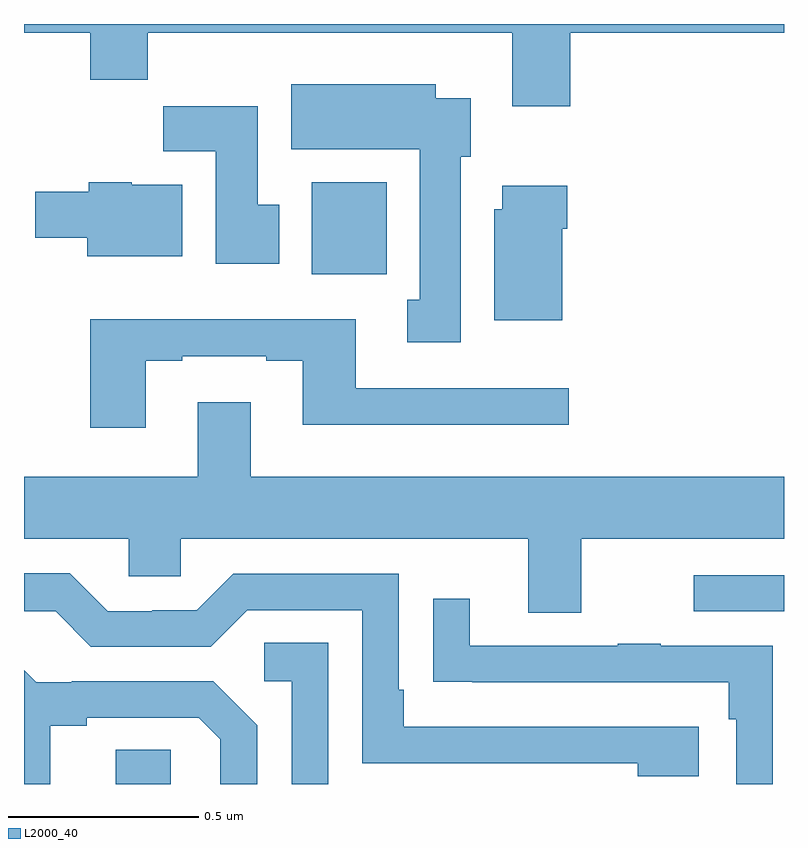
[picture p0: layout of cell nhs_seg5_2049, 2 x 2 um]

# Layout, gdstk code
import gdstk
lib = gdstk.Library(unit=1e-6, precision=1e-09)
def R(c, l, rs):  # rectangles x0, y0, x1, y1
    for r in rs: c.add(gdstk.rectangle(r[:2], r[2:], *l))
def P(c, l, *ps):  # polygons
    for p in ps: c.add(gdstk.Polygon(p, *l))
L2000_40 = (2000, 40)

nhs_seg5_2049 = lib.new_cell('nhs_seg5_2049')
R(nhs_seg5_2049, L2000_40, [(139.241,838.799,139.386,838.889), (140.763,839.253,141,839.349), (139.757,840.14,139.954,840.382)])
P(nhs_seg5_2049, L2000_40, [(140.438,840.776),(141,840.776),(141,840.799),(139,840.799),(139,840.776),(139.174,840.776),(139.174,840.652),(139.325,840.652),(139.325,840.776),(140.285,840.776),(140.285,840.582),(140.438,840.582)],
  [(140.149,840.45),(140.176,840.45),(140.176,840.604),(140.083,840.604),(140.083,840.64),(139.703,840.64),(139.703,840.47),(140.042,840.47),(140.042,840.074),(140.009,840.074),(140.009,839.961),(140.149,839.961)],
  [(139.672,840.324),(139.615,840.324),(139.615,840.582),(139.366,840.582),(139.366,840.464),(139.505,840.464),(139.505,840.168),(139.672,840.168)],
  [(139.417,840.376),(139.284,840.376),(139.284,840.382),(139.17,840.382),(139.17,840.358),(139.029,840.358),(139.029,840.236),(139.166,840.236),(139.166,840.188),(139.417,840.188)],
  [(140.416,840.26),(140.429,840.26),(140.429,840.373),(140.258,840.373),(140.258,840.312),(140.237,840.312),(140.237,840.02),(140.416,840.02)],
  [(139.321,839.913),(139.417,839.913),(139.417,839.925),(139.637,839.925),(139.637,839.913),(139.733,839.913),(139.733,839.744),(140.434,839.744),(140.434,839.841),(139.873,839.841),(139.873,840.022),(139.174,840.022),(139.174,839.736),(139.321,839.736)],
  [(140.467,839.444),(141,839.444),(141,839.608),(139.597,839.608),(139.597,839.803),(139.457,839.803),(139.457,839.608),(139,839.608),(139,839.444),(139.275,839.444),(139.275,839.346),(139.413,839.346),(139.413,839.444),(140.327,839.444),(140.327,839.25),(140.467,839.25)],
  [(140.776,838.95),(139.999,838.95),(139.999,839.047),(139.986,839.047),(139.986,839.352),(139.551,839.352),(139.455,839.256),(139.337,839.256),(139.337,839.253),(139.221,839.253),(139.121,839.353),(139,839.353),(139,839.253),(139.083,839.253),(139.176,839.16),(139.491,839.16),(139.587,839.256),(139.89,839.256),(139.89,838.854),(140.615,838.854),(140.615,838.82),(140.776,838.82)],
  [(140.97,839.163),(140.675,839.163),(140.675,839.168),(140.563,839.168),(140.563,839.163),(140.173,839.163),(140.173,839.287),(140.077,839.287),(140.077,839.068),(140.179,839.068),(140.179,839.067),(140.854,839.067),(140.854,838.97),(140.874,838.97),(140.874,838.799),(140.97,838.799)],
  [(139.8,839.171),(139.632,839.171),(139.632,839.07),(139.704,839.07),(139.704,838.799),(139.8,838.799)],
  [(139.069,838.952),(139.165,838.952),(139.165,838.974),(139.46,838.974),(139.517,838.917),(139.517,838.799),(139.614,838.799),(139.614,838.954),(139.498,839.07),(139.126,839.07),(139.126,839.067),(139.032,839.067),(139,839.099),(139,838.799),(139.069,838.799)])

lib.write_gds('nhs_seg5_2049.gds')
